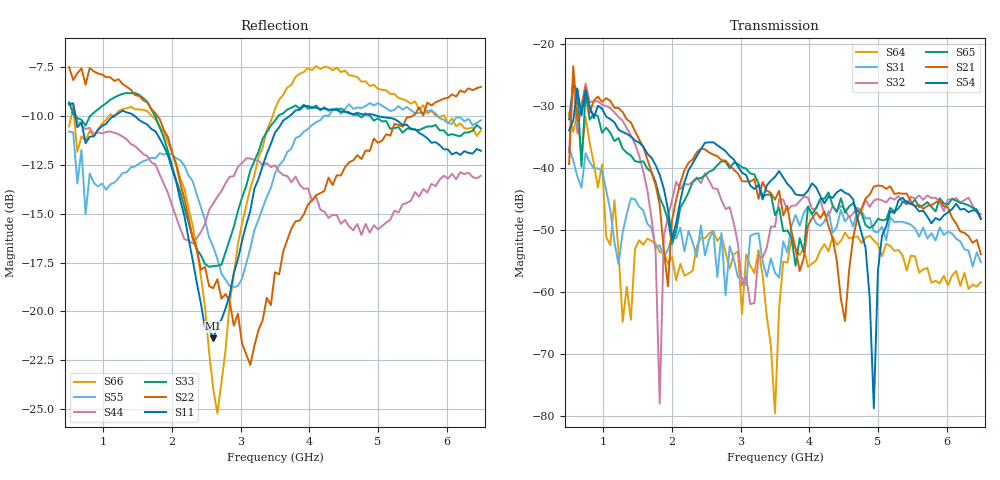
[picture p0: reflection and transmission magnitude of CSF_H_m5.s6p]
!Keysight Technologies,M9804A,MY58100912,A.14.10.03
!Date: Thursday, April 27, 2023 10:28:33
!Correction: S11(C  6-Port  )
!S12(C  6-Port  )
!S13(C  6-Port  )
!S14(C  6-Port  )
!S15(C  6-Port  )
!S16(C  6-Port  )
!S21(C  6-Port  )
!S22(C  6-Port  )
!S23(C  6-Port  )
!S24(C  6-Port  )
!S25(C  6-Port  )
!S26(C  6-Port  )
!S31(C  6-Port  )
!S32(C  6-Port  )
!S33(C  6-Port  )
!S34(C  6-Port  )
!S35(C  6-Port  )
!S36(C  6-Port  )
!S41(C  6-Port  )
!S42(C  6-Port  )
!S43(C  6-Port  )
!S44(C  6-Port  )
!S45(C  6-Port  )
!S46(C  6-Port  )
!S51(C  6-Port  )
!S52(C  6-Port  )
!S53(C  6-Port  )
!S54(C  6-Port  )
!S55(C  6-Port  )
!S56(C  6-Port  )
!S61(C  6-Port  )
!S62(C  6-Port  )
!S63(C  6-Port  )
!S64(C  6-Port  )
!S65(C  6-Port  )
!S66(C  6-Port  )
!S6P File: Measurement: :
# Hz S  RI  R 50
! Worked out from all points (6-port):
!   101 points, 500 MHz to 6.5 GHz, reference 50 ohm
!   strongest paths, dB at 500 MHz, 2 GHz, 3.5 GHz, 5 GHz, 6.5 GHz:
!     S54: -33.9, -51.4, -41.4, -56.6, -48.2
!     S21: -39.4, -48.3, -45.1, -42.8, -53.9
!     S65: -32.1, -52.2, -47.6, -48.2, -48.2
!     S32: -37.4, -45.1, -49.5, -45.0, -47.4
!     S31: -36.7, -51.0, -56.9, -50.3, -55.1
!     S64: -31.0, -54.3, -79.6, -52.3, -58.4
!   lowest |S11| = -21.4 dB at 2.6 GHz (marker M1), VSWR 1.19, Z = 42.5 + j2.32 ohm
!   |S11| at or under -10 dB: 592 MHz to 1.148 GHz (556 MHz wide, 63.9 % of centre); 1.459 GHz to 3.711 GHz (2.252 GHz wide, 87.1 % of centre); 4.995 GHz to end of sweep
